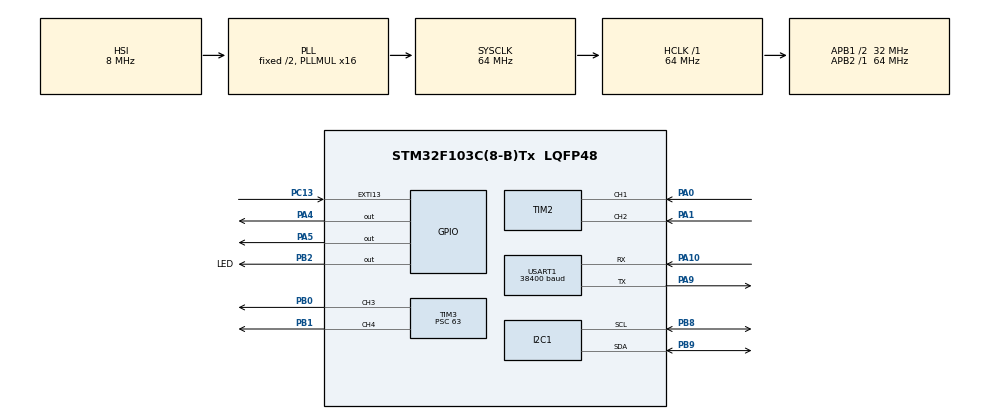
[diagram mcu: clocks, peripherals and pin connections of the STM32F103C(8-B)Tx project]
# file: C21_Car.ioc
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Mcu.Family=STM32F1
Mcu.Name=STM32F103C(8-B)Tx
Mcu.Package=LQFP48
NVIC.EXTI15_10_IRQn=true\:0\:0\:false\:false\:true\:true\:true
NVIC.PriorityGroup=NVIC_PRIORITYGROUP_4
NVIC.USART1_IRQn=true\:0\:0\:false\:false\:true\:true\:true
PA0-WKUP.Signal=S_TIM2_CH1_ETR
PA1.Signal=S_TIM2_CH2
PA10.Mode=Asynchronous
PA10.Signal=USART1_RX
PA13.Mode=Serial_Wire
PA13.Signal=SYS_JTMS-SWDIO
PA14.Mode=Serial_Wire
PA14.Signal=SYS_JTCK-SWCLK
PA4.Signal=GPIO_Output
PA5.Signal=GPIO_Output
PA9.Mode=Asynchronous
PA9.Signal=USART1_TX
PB0.Signal=S_TIM3_CH3
PB1.Signal=S_TIM3_CH4
PB10.Signal=S_TIM2_CH3
PB11.Signal=S_TIM2_CH4
PB2.GPIO_Label=LED
PB2.Signal=GPIO_Output
PB8.Mode=I2C
PB8.Signal=I2C1_SCL
PB9.Mode=I2C
PB9.Signal=I2C1_SDA
PC13-TAMPER-RTC.GPIO_PuPd=GPIO_PULLUP
PC13-TAMPER-RTC.Signal=GPXTI13
ProjectManager.HeapSize=0x200
ProjectManager.StackSize=0x400
ProjectManager.TargetToolchain=STM32CubeIDE
RCC.AHBFreq_Value=64000000
RCC.APB1CLKDivider=RCC_HCLK_DIV2
RCC.APB1Freq_Value=32000000
RCC.APB1TimFreq_Value=64000000
RCC.APB2Freq_Value=64000000
RCC.APB2TimFreq_Value=64000000
RCC.HCLKFreq_Value=64000000
RCC.PLLMUL=RCC_PLL_MUL16
RCC.SYSCLKFreq_VALUE=64000000
RCC.SYSCLKSource=RCC_SYSCLKSOURCE_PLLCLK
RCC.USBFreq_Value=64000000
SH.S_TIM2_CH1_ETR.0=TIM2_CH1,Encoder_Interface
SH.S_TIM2_CH2.0=TIM2_CH2,Encoder_Interface
SH.S_TIM2_CH3.0=TIM2_CH3
SH.S_TIM2_CH4.0=TIM2_CH4
SH.S_TIM3_CH3.0=TIM3_CH3,PWM Generation3 CH3
SH.S_TIM3_CH4.0=TIM3_CH4,PWM Generation4 CH4
TIM3.Channel-PWM\ Generation3\ CH3=TIM_CHANNEL_3
TIM3.Channel-PWM\ Generation4\ CH4=TIM_CHANNEL_4
TIM3.Period=999
TIM3.Prescaler=63
USART1.BaudRate=38400
USART1.VirtualMode=VM_ASYNC
VP_TIM3_VS_ClockSourceINT.Mode=Internal
board=custom

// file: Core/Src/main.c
/* USER CODE BEGIN Header */
/**
  ******************************************************************************
  * @file           : main.c
  * @brief          : Main program body
  ******************************************************************************
  * @attention
  *
  * <h2><center>&copy; Copyright (c) 2020 STMicroelectronics.
  * All rights reserved.</center></h2>
  *
  * This software component is licensed by ST under BSD 3-Clause license,
  * the "License"; You may not use this file except in compliance with the
  * License. You may obtain a copy of the License at:
  *                        opensource.org/licenses/BSD-3-Clause
  *
  ******************************************************************************
  */
/* USER CODE END Header */
#include "main.h"
#include "i2c.h"
#include "tim.h"
#include "usart.h"
#include "gpio.h"

/* USER CODE BEGIN Includes */
#include "Motor.h"
/* USER CODE END Includes */

/* USER CODE BEGIN PV */
volatile char Rx_data[1];
/* USER CODE END PV */

void SystemClock_Config(void);

int main(void)
{

  /* MCU Configuration--------------------------------------------------------*/

  /* Reset of all peripherals, Initializes the Flash interface and the Systick. */
  HAL_Init();

  /* Configure the system clock */
  SystemClock_Config();

  /* Initialize all configured peripherals */
  MX_GPIO_Init();
  MX_I2C1_Init();
  MX_TIM3_Init();
  MX_USART1_UART_Init();
  MX_TIM2_Init();
  /* USER CODE BEGIN 2 */
  motor_init();
  HAL_UART_Receive_IT(&huart1, (uint8_t *)Rx_data, sizeof(Rx_data));
  /* USER CODE END 2 */

  /* Infinite loop */
  while (1)
  {

    /* USER CODE BEGIN 3 */
	  if (Rx_data[0] == 'f')
	  {
		  go_forward(800);
	  }
	  else if (Rx_data[0] == 'b')
	  {
		  go_backward(800);
	  }
	  else if (Rx_data[0] == 'l')
	  {
		  turn_left(500);
	  }
	  else if (Rx_data[0] == 'r')
	  {
		  turn_right(500);
	  }
	  else
	  {
		  stop();
	  }

  }
  /* USER CODE END 3 */
}

void SystemClock_Config(void)
{
  RCC_OscInitTypeDef RCC_OscInitStruct = {0};
  RCC_ClkInitTypeDef RCC_ClkInitStruct = {0};

  /** Initializes the RCC Oscillators according to the specified parameters
  * in the RCC_OscInitTypeDef structure.
  */
  RCC_OscInitStruct.OscillatorType = RCC_OSCILLATORTYPE_HSI;
  RCC_OscInitStruct.HSIState = RCC_HSI_ON;
  RCC_OscInitStruct.HSICalibrationValue = RCC_HSICALIBRATION_DEFAULT;
  RCC_OscInitStruct.PLL.PLLState = RCC_PLL_ON;
  RCC_OscInitStruct.PLL.PLLSource = RCC_PLLSOURCE_HSI_DIV2;
  RCC_OscInitStruct.PLL.PLLMUL = RCC_PLL_MUL16;
  if (HAL_RCC_OscConfig(&RCC_OscInitStruct) != HAL_OK)
  {
    Error_Handler();
  }
  /** Initializes the CPU, AHB and APB buses clocks
  */
  RCC_ClkInitStruct.ClockType = RCC_CLOCKTYPE_HCLK|RCC_CLOCKTYPE_SYSCLK
                              |RCC_CLOCKTYPE_PCLK1|RCC_CLOCKTYPE_PCLK2;
  RCC_ClkInitStruct.SYSCLKSource = RCC_SYSCLKSOURCE_PLLCLK;
  RCC_ClkInitStruct.AHBCLKDivider = RCC_SYSCLK_DIV1;
  RCC_ClkInitStruct.APB1CLKDivider = RCC_HCLK_DIV2;
  RCC_ClkInitStruct.APB2CLKDivider = RCC_HCLK_DIV1;

  if (HAL_RCC_ClockConfig(&RCC_ClkInitStruct, FLASH_LATENCY_2) != HAL_OK)
  {
    Error_Handler();
  }
}

/* USER CODE BEGIN 4 */
void HAL_UART_RxCpltCallback(UART_HandleTypeDef *huart)
{
	if (huart->Instance == huart1.Instance)
	{
		HAL_UART_Transmit(&huart1, (uint8_t *)Rx_data, sizeof(Rx_data), 50);
		HAL_UART_Receive_IT(&huart1, (uint8_t *)Rx_data, sizeof(Rx_data));
	}
}

void HAL_TIM_PeriodElapsedCallback(TIM_HandleTypeDef *htim);
/* USER CODE END 4 */

void Error_Handler(void)
{
}

/************************ (C) COPYRIGHT STMicroelectronics *****END OF FILE****/
